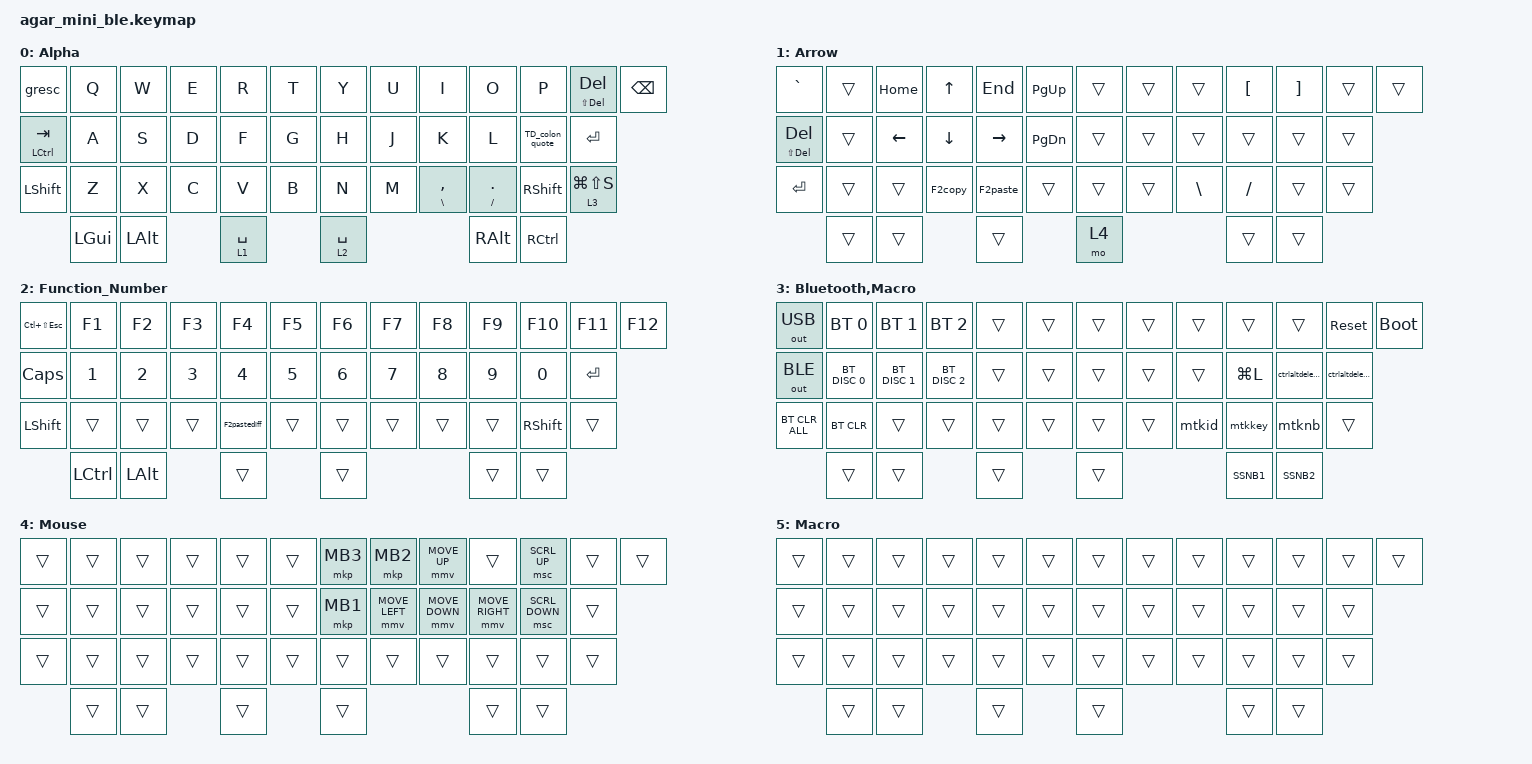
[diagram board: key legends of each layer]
/*
 * Copyright (c) 2021 The ZMK Contributors
 *
 * SPDX-License-Identifier: MIT
 */

#define ZMK_POINTING_DEFAULT_MOVE_VAL 800 // default: 600

#include "./boards/shields/klink_kbd/common.keymap"
#include <behaviors.dtsi>
#include <dt-bindings/zmk/bt.h>
#include <dt-bindings/zmk/keys.h>
#include <dt-bindings/zmk/outputs.h>
#include <dt-bindings/zmk/pointing.h>

/ {
    combos {
        compatible = "zmk,combos";

        Qmark {
            bindings = <&kp QMARK>;
            key-positions = <34 35>;
            layers = <0>;
        };

        Spaces_to_Ralt {
            bindings = <&kp RALT>;
            key-positions = <39 40>;
            layers = <0>;
        };

        Bang {
            bindings = <&kp EXCL>;
            key-positions = <0 1>;
            layers = <0>;
        };

        At {
            bindings = <&kp AT>;
            key-positions = <1 2>;
            layers = <0>;
        };

        Hash {
            bindings = <&kp HASH>;
            key-positions = <2 3>;
            layers = <0>;
        };

        Dollar {
            bindings = <&kp DLLR>;
            key-positions = <3 4>;
            layers = <0>;
        };

        PCNT {
            bindings = <&kp PRCNT>;
            key-positions = <4 5>;
            layers = <0>;
        };

        Caret {
            bindings = <&kp CARET>;
            key-positions = <5 6>;
            layers = <0>;
        };

        Amp {
            bindings = <&kp AMPS>;
            key-positions = <6 7>;
            layers = <0>;
        };

        Asterisk {
            bindings = <&kp STAR>;
            key-positions = <8 7>;
            layers = <0>;
        };

        LeftParen {
            bindings = <&kp LPAR>;
            key-positions = <9 8>;
            layers = <0>;
        };

        RightParen {
            bindings = <&kp RPAR>;
            key-positions = <10 9>;
            layers = <0>;
        };

        Minus {
            bindings = <&mt UNDER MINUS>;
            key-positions = <11 10>;
            layers = <0>;
        };

        Equal {
            bindings = <&mt KP_PLUS EQUAL>;
            key-positions = <12 11>;
            layers = <0>;
        };

        Shift_Tab {
            bindings = <&kp LC(TAB)>;
            key-positions = <25 13>;
        };

        Ctrl_Shift_Tab {
            bindings = <&kp LS(LC(TAB))>;
            key-positions = <0 13>;
        };

        taskmanager {
            bindings = <&kp LC(LS(ESC))>;
            key-positions = <13 0 25>;
        };
    };

    behaviors {
        TD_colon_quote: TD_colon_quote {
            compatible = "zmk,behavior-tap-dance";
            label = "TD_COLON_QUOTE";
            #binding-cells = <0>;
            bindings = <&kp SQT>, <&kp SEMICOLON>;

            tapping-term-ms = <150>;
        };

        TD_LEFT: TD_LEFT {
            compatible = "zmk,behavior-tap-dance";
            label = "TD_LEFT";
            #binding-cells = <0>;
            bindings = <&kp LEFT>, <&kp LG(LEFT)>;

            tapping-term-ms = <110>;
        };

        TD_RIGHT: TD_RIGHT {
            compatible = "zmk,behavior-tap-dance";
            label = "TD_RIGHT";
            #binding-cells = <0>;
            bindings = <&kp RIGHT>, <&kp LG(RIGHT)>;

            tapping-term-ms = <110>;
        };

        TD_UP: TD_UP {
            compatible = "zmk,behavior-tap-dance";
            label = "TD_UP";
            #binding-cells = <0>;
            bindings = <&kt UP>, <&kp LG(UP)>;

            tapping-term-ms = <110>;
        };

        TD_DOWN: TD_DOWN {
            compatible = "zmk,behavior-tap-dance";
            label = "TD_DOWN";
            #binding-cells = <0>;
            bindings = <&kp DOWN>, <&kp LG(DOWN)>;

            tapping-term-ms = <110>;
        };
    };

    macros {
        mtkkey: mtkkey {
            compatible = "zmk,behavior-macro";
            #binding-cells = <0>;
            bindings = <&kp LS(Y) &kp O &kp G &kp M &kp L &kp T &kp N &kp N0 &kp N8 &kp N3 &kp AT &kp EXCL &kp ENTER>;
            label = "MTKKEY";
        };

        mtkid: mtkid {
            compatible = "zmk,behavior-macro";
            #binding-cells = <0>;
            bindings = <&kp T &kp E &kp R &kp R &kp Y &kp DOT &kp K &kp I &kp M &kp AT &kp M &kp E &kp D &kp I &kp A &kp T &kp E &kp K &kp DOT &kp C &kp O &kp M &kp RET>;
            label = "MTKID";
        };

        mtknb: mtknb {
            compatible = "zmk,behavior-macro";
            #binding-cells = <0>;
            bindings = <&kp LS(N) &kp LS(B) &kp N2 &kp N5 &kp N0 &kp N6 &kp N0 &kp N5 &kp N0 &kp N3 &kp ENTER>;
            label = "MTKNB";
        };

        Diff: Diff {
            compatible = "zmk,behavior-macro";
            #binding-cells = <0>;
            bindings = <&kp F2 &kp UNDER &kp LS(D) &kp I &kp F &kp F &kp ENTER>;
            label = "DIFF";
        };

        F2copy: F2copy {
            compatible = "zmk,behavior-macro";
            #binding-cells = <0>;
            bindings = <&kp F2 &kp LC(C) &kp ESC>;
            label = "F2COPY";
        };

        F2paste: F2paste {
            compatible = "zmk,behavior-macro";
            #binding-cells = <0>;
            bindings = <&kp F2 &kp LC(V) &kp ENTER>;
            label = "F2PASTE";
        };

        F2pastediff: F2pastediff {
            compatible = "zmk,behavior-macro";
            #binding-cells = <0>;
            bindings = <&kp F2 &kp LC(V) &kp UNDER &kp LS(D) &kp I &kp F &kp F &kp RET>;
            label = "F2PASTEDIFF";
        };

        ctrlaltdelesc: ctrlaltdelesc {
            compatible = "zmk,behavior-macro";
            #binding-cells = <0>;
            bindings = <&kp LC(LA(DEL)) &kp ESC>;
            label = "CTRLALTDELESC";
        };

        SSNB1: SSNB {
            compatible = "zmk,behavior-macro";
            #binding-cells = <0>;
            bindings = <&kp P &kp H &kp O &kp N &kp E &kp N0 &kp N0 &kp EXCL &kp EXCL &kp ENTER>;
            label = "SSNB";
        };

        SSNB2: SSNB2 {
            compatible = "zmk,behavior-macro";
            #binding-cells = <0>;
            bindings = <&kp P &kp H &kp O &kp N &kp E &kp N0 &kp N0 &kp RET>;
            label = "SSNB2";
        };

        ctrlaltdelescpw: ctrlaltdelescpw {
            compatible = "zmk,behavior-macro";
            #binding-cells = <0>;
            bindings = <&kp LC(LA(DEL)) &kp ESC &kp P &kp H &kp O &kp N &kp E &kp N0 &kp N0 &kp EXCL &kp EXCL &kp RET>;
            label = "CTRLALTDELESCPW";
        };
    };

    keymap {
        compatible = "zmk,keymap";

        Alpha {
            bindings = <
&gresc         &kp Q         &kp W     &kp E  &kp R        &kp T  &kp Y        &kp U  &kp I           &kp O          &kp P              &mt LS(DEL) DEL  &kp BSPC
&mt LCTRL TAB  &kp A         &kp S     &kp D  &kp F        &kp G  &kp H        &kp J  &kp K           &kp L          &TD_colon_quote    &kp RET
&kp LSHFT      &kp Z         &kp X     &kp C  &kp V        &kp B  &kp N        &kp M  &mt BSLH COMMA  &mt SLASH DOT  &kp RSHIFT         &lt 3 LG(LS(S))
               &kp LEFT_GUI  &kp LALT         &lt 1 SPACE         &lt 2 SPACE                         &kp RIGHT_ALT  &kp RIGHT_CONTROL
            >;
        };

        Arrow {
            bindings = <
&kp GRAVE        &trans  &kp HOME  &kp UP    &kp END    &kp PG_UP  &trans  &trans  &trans         &kp LEFT_BRACKET  &kp RIGHT_BRACKET  &trans  &trans
&mt LS(DEL) DEL  &trans  &kp LEFT  &kp DOWN  &kp RIGHT  &kp PG_DN  &trans  &trans  &trans         &trans            &trans             &trans
&kp ENTER        &trans  &trans    &F2copy   &F2paste   &trans     &trans  &trans  &kp BACKSLASH  &kp SLASH         &trans             &trans
                 &trans  &trans              &trans                &mo 4                          &trans            &trans
            >;
        };

        Function_Number {
            bindings = <
&kp LC(LS(ESC))  &kp F1     &kp F2    &kp F3  &kp F4        &kp F5  &kp F6  &kp F7  &kp F8  &kp F9  &kp F10    &kp F11    &kp F12
&kp CAPS         &kp N1     &kp N2    &kp N3  &kp N4        &kp N5  &kp N6  &kp N7  &kp N8  &kp N9  &kp N0     &kp ENTER
&kp LSHFT        &trans     &trans    &trans  &F2pastediff  &trans  &trans  &trans  &trans  &trans  &kp RSHFT  &trans
                 &kp LCTRL  &kp LALT          &trans                &trans                  &trans  &trans
            >;
        };

        Bluetooth,Macro {
            bindings = <
&out OUT_USB    &bt BT_SEL 0   &bt BT_SEL 1   &bt BT_SEL 2   &trans  &trans  &trans  &trans  &trans  &trans     &trans            &sys_reset      &bootloader
&out OUT_BLE    &bt BT_DISC 0  &bt BT_DISC 1  &bt BT_DISC 2  &trans  &trans  &trans  &trans  &trans  &kp LG(L)  &ctrlaltdelescpw  &ctrlaltdelesc
&bt BT_CLR_ALL  &bt BT_CLR     &trans         &trans         &trans  &trans  &trans  &trans  &mtkid  &mtkkey    &mtknb            &trans
                &trans         &trans                        &trans          &trans                  &SSNB1     &SSNB2
            >;
        };

        Mouse {
            bindings = <
&trans  &trans  &trans  &trans  &trans  &trans  &mkp MB3  &mkp MB2        &mmv MOVE_UP    &trans           &msc SCRL_UP    &trans  &trans
&trans  &trans  &trans  &trans  &trans  &trans  &mkp MB1  &mmv MOVE_LEFT  &mmv MOVE_DOWN  &mmv MOVE_RIGHT  &msc SCRL_DOWN  &trans
&trans  &trans  &trans  &trans  &trans  &trans  &trans    &trans          &trans          &trans           &trans          &trans
        &trans  &trans          &trans          &trans                                    &trans           &trans
            >;
        };

        Macro {
            bindings = <
&trans  &trans  &trans  &trans  &trans  &trans  &trans  &trans  &trans  &trans  &trans  &trans  &trans
&trans  &trans  &trans  &trans  &trans  &trans  &trans  &trans  &trans  &trans  &trans  &trans
&trans  &trans  &trans  &trans  &trans  &trans  &trans  &trans  &trans  &trans  &trans  &trans
        &trans  &trans          &trans          &trans                  &trans  &trans
            >;
        };
    };
};

&mmv {
    time-to-max-speed-ms = <0>; // Default: 300
    acceleration-exponent = <1>;
};
